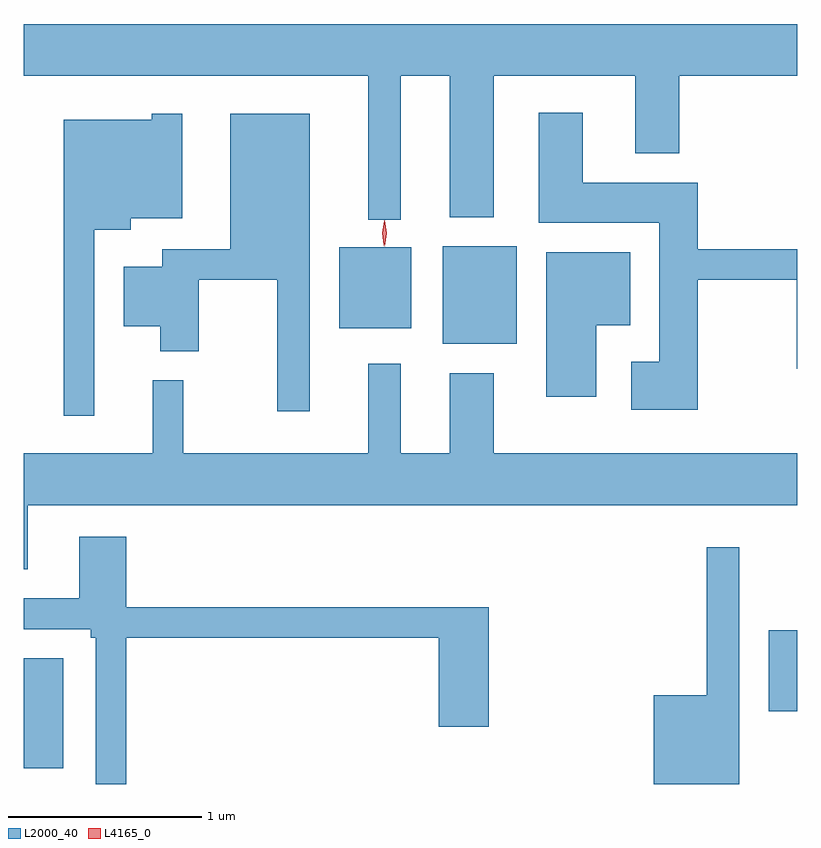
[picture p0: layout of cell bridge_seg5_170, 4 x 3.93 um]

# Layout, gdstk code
import gdstk
lib = gdstk.Library(unit=1e-6, precision=1e-09)
def R(c, l, rs):  # rectangles x0, y0, x1, y1
    for r in rs: c.add(gdstk.rectangle(r[:2], r[2:], *l))
def P(c, l, *ps):  # polygons
    for p in ps: c.add(gdstk.Polygon(p, *l))
L2000_40 = (2000, 40)
L4165_0 = (4165, 0)

bridge_seg5_170 = lib.new_cell('bridge_seg5_170')
R(bridge_seg5_170, L2000_40, [(1256.519,1399.936,1256.724,1400.504), (1260.371,1400.231,1260.519,1400.649), (1258.686,1402.131,1259.069,1402.634), (1258.151,1402.211,1258.524,1402.629)])
P(bridge_seg5_170, L2000_40, [(1258.469,1403.516),(1258.721,1403.516),(1258.721,1402.786),(1258.949,1402.786),(1258.949,1403.516),(1259.681,1403.516),(1259.681,1403.116),(1259.909,1403.116),(1259.909,1403.516),(1260.519,1403.516),(1260.519,1403.784),(1256.519,1403.784),(1256.519,1403.516),(1258.301,1403.516),(1258.301,1402.773),(1258.469,1402.773)],
  [(1260.004,1402.461),(1260.516,1402.461),(1260.516,1402.001),(1260.519,1402.001),(1260.519,1402.619),(1260.004,1402.619),(1260.004,1402.964),(1259.409,1402.964),(1259.409,1403.324),(1259.181,1403.324),(1259.181,1402.756),(1259.806,1402.756),(1259.806,1402.039),(1259.661,1402.039),(1259.661,1401.791),(1260.004,1401.791)],
  [(1257.999,1403.319),(1257.586,1403.319),(1257.586,1402.619),(1257.236,1402.619),(1257.236,1402.529),(1257.036,1402.529),(1257.036,1402.221),(1257.226,1402.221),(1257.226,1402.091),(1257.424,1402.091),(1257.424,1402.461),(1257.831,1402.461),(1257.831,1401.783),(1257.999,1401.783)],
  [(1256.884,1402.721),(1257.074,1402.721),(1257.074,1402.781),(1257.339,1402.781),(1257.339,1403.319),(1257.181,1403.319),(1257.181,1403.289),(1256.726,1403.289),(1256.726,1401.758),(1256.884,1401.758)],
  [(1259.479,1402.226),(1259.654,1402.226),(1259.654,1402.604),(1259.221,1402.604),(1259.221,1401.856),(1259.479,1401.856)],
  [(1256.539,1401.296),(1260.519,1401.296),(1260.519,1401.564),(1258.949,1401.564),(1258.949,1401.979),(1258.721,1401.979),(1258.721,1401.564),(1258.469,1401.564),(1258.469,1402.028),(1258.301,1402.028),(1258.301,1401.564),(1257.344,1401.564),(1257.344,1401.943),(1257.186,1401.943),(1257.186,1401.564),(1256.519,1401.564),(1256.519,1400.966),(1256.539,1400.966)],
  [(1257.049,1400.611),(1258.666,1400.611),(1258.666,1400.151),(1258.924,1400.151),(1258.924,1400.769),(1257.049,1400.769),(1257.049,1401.134),(1256.806,1401.134),(1256.806,1400.814),(1256.519,1400.814),(1256.519,1400.656),(1256.866,1400.656),(1256.866,1400.611),(1256.891,1400.611),(1256.891,1399.855),(1257.049,1399.855)],
  [(1260.219,1401.078),(1260.051,1401.078),(1260.051,1400.314),(1259.776,1400.314),(1259.776,1399.855),(1260.219,1399.855)])
P(bridge_seg5_170, L4165_0, [(1258.38,1402.638),(1258.38,1402.639),(1258.372,1402.703),(1258.383,1402.766),(1258.383,1402.767),(1258.384,1402.766),(1258.392,1402.702),(1258.381,1402.639)],
  [(1258.385,1402.634),(1258.376,1402.702),(1258.385,1402.77),(1258.386,1402.77),(1258.386,1402.77),(1258.396,1402.702),(1258.386,1402.634),(1258.386,1402.634)])

lib.write_gds('bridge_seg5_170.gds')
